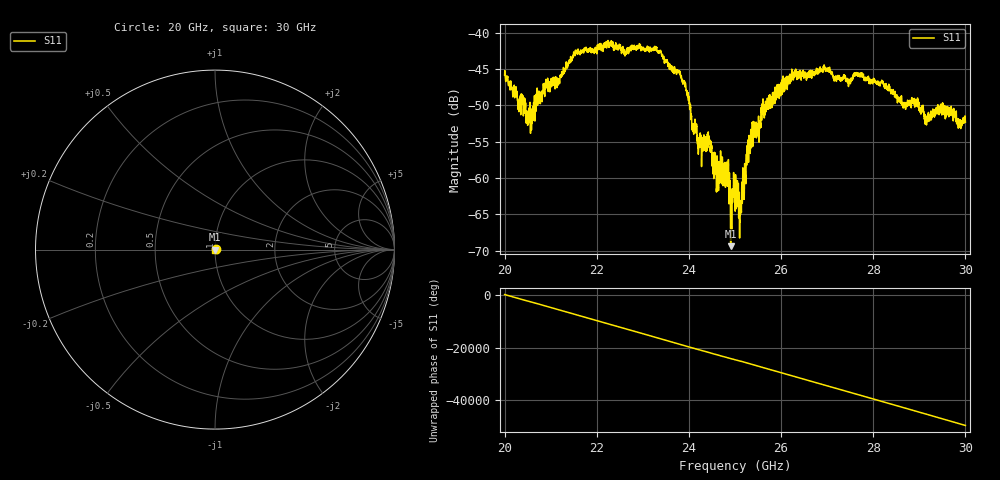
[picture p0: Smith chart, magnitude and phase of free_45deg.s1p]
#  HZ  S  RI  R  50.00
! Rohde & Schwarz ZVA40 4Ports - Version 3.90 - 1145.1110k42 SN: 100403
! Date: 2023-09-28 11:25:56
! Measurement: S12
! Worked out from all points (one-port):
!   5001 points, 20 GHz to 30 GHz, reference 50 ohm
!   lowest |S11| = -69.4 dB at 24.91 GHz (marker M1), VSWR 1.00, Z = 50 - j0.0148 ohm
!   |S11| at or under -10 dB: start of sweep to end of sweep
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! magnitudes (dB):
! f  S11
! 20 GHz  -45.8
! 20.55 GHz  -49.9
! 20.89 GHz  -47.6
! 21.25 GHz  -45.8
! 21.55 GHz  -42.6
! 22.5 GHz  -42.1
! 23.28 GHz  -42.3
! 23.75 GHz  -45.2
! 23.93 GHz  -47.3
! 24.23 GHz  -54.9
! 24.45 GHz  -55.1
! 24.55 GHz  -57.2
! 24.81 GHz  -60.5
! 24.91 GHz  -69.4
! 25 GHz  -61.9
! 25.11 GHz  -65.0
! 25.29 GHz  -57.8
! 25.41 GHz  -53.6
! 25.62 GHz  -50.8
! 26.25 GHz  -45.7
! 26.96 GHz  -45.3
! 27.5 GHz  -46.8
! 28.2 GHz  -46.8
! 28.75 GHz  -49.4
! 28.94 GHz  -49.6
! 29.16 GHz  -52.7
! 29.49 GHz  -50.3
! 30 GHz  -52.3
